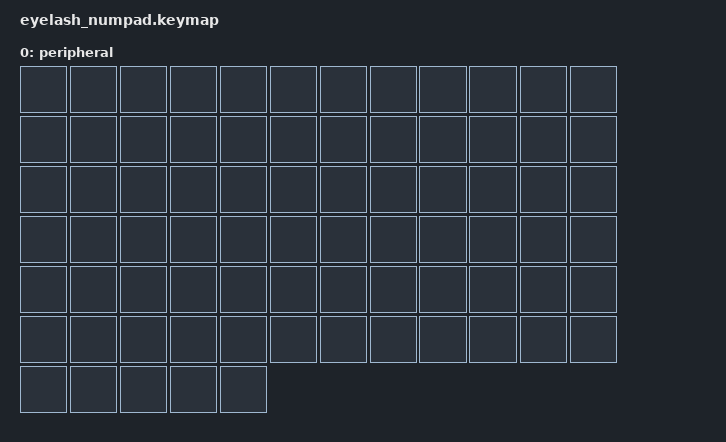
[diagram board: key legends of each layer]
#include <behaviors.dtsi>
#include <behaviors/eyelash_dfu.dtsi>
/ { keymap { compatible = "zmk,keymap"; peripheral { bindings = <
                &none &none &none &none &none &none &none &none &none &none &none &none
                &none &none &none &none &none &none &none &none &none &none &none &none
                &none &none &none &none &none &none &none &none &none &none &none &none
                &none &none &none &none &none &none &none &none &none &none &none &none
                &none &none &none &none &none &none &none &none &none &none &none &none
                &none &none &none &none &none &none &none &none &none &none &none &none
                &none &none &none &none &none
>; }; }; };
